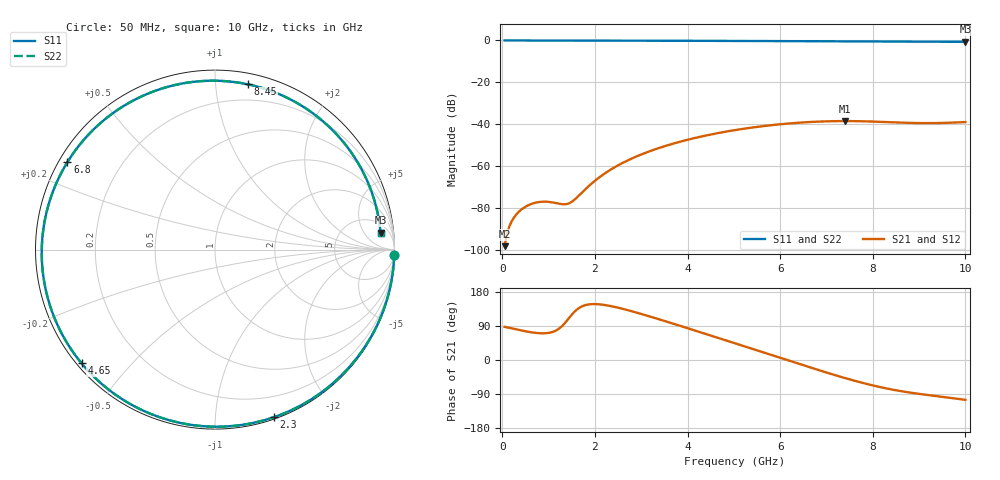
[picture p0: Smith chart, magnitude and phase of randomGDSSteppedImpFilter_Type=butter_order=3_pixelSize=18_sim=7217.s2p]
! freq	dB(S11)	phase(S11)	dB(S12)	phase(S12)
!  dB(S21)	phase(S21)	dB(S22)	phase(S22)
!S-par simulation data
#  GHz  S  DB  R 50
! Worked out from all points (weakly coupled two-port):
!   200 points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, 50 MHz to 10 GHz, reference 50 ohm
!   highest |S21| = -38.55 dB at 7.4 GHz (marker M1); lowest = -98.4 dB at 50 MHz (marker M2)
!   lowest |S11| = -0.7 dB at 10 GHz (marker M3), VSWR 26.47, Z = 466 + j631 ohm
!   |S11| at or under -10 dB: nowhere
!   |S22| runs from -0.7 to 0.0 dB; largest |S21 - S12| = 0
!   S11 on the Smith chart (normalised r, x): 50 MHz: 2, -72; 2.3 GHz: 0.02, -1.41; 4.65 GHz: 0.01, -0.37; 6.8 GHz: 0.02, +0.27; 8.45 GHz: 0.08, +1.22; 10 GHz: 9, +13
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0.05  -0.01 -1.6  -98.37 87.4  -98.37 87.4  -0.01 -1.6
0.45  -0.02 -14.2  -80.23 77.0  -80.23 77.0  -0.02 -14.2
0.85  -0.03 -26.7  -77.14 70.5  -77.14 70.5  -0.03 -26.7
1.4  -0.06 -43.6  -78.18 104.4  -78.18 104.4  -0.06 -43.6
1.55  -0.06 -48.2  -76.32 126.3  -76.32 126.3  -0.06 -48.2
1.75  -0.07 -54.2  -72.09 143.0  -72.09 143.0  -0.07 -54.2
2.3  -0.09 -70.7  -62.32 143.3  -62.32 143.3  -0.09 -70.7
2.8  -0.11 -85.4  -56.42 128.5  -56.42 128.5  -0.11 -85.4
3.4  -0.14 -102.9  -51.31 106.9  -51.31 106.9  -0.14 -102.9
4  -0.17 -120.4  -47.50 84.0  -47.50 84.0  -0.17 -120.4
4.65  -0.21 -139.6  -44.34 58.7  -44.34 58.7  -0.21 -139.5
5.05  -0.23 -151.6  -42.79 43.0  -42.79 43.0  -0.23 -151.6
5.9  -0.30 -178.7  -40.31 9.5  -40.31 9.5  -0.30 -178.7
6.7  -0.38 153.1  -38.94 -21.7  -38.94 -21.7  -0.38 153.2
6.8  -0.39 149.4  -38.84 -25.6  -38.84 -25.6  -0.39 149.4
7.4  -0.45 125.5  -38.55 -47.7  -38.55 -47.7  -0.45 125.6
7.9  -0.50 104.0  -38.72 -64.1  -38.72 -64.1  -0.50 104.1
8.35  -0.54 83.4  -39.08 -76.4  -39.08 -76.4  -0.54 83.5
8.45  -0.55 78.7  -39.17 -78.8  -39.17 -78.8  -0.55 78.8
8.85  -0.58 59.7  -39.45 -86.9  -39.45 -86.9  -0.58 59.8
9.3  -0.60 38.2  -39.53 -94.1  -39.53 -94.1  -0.60 38.2
10  -0.66 5.9  -39.02 -105.2  -39.02 -105.2  -0.66 5.9
